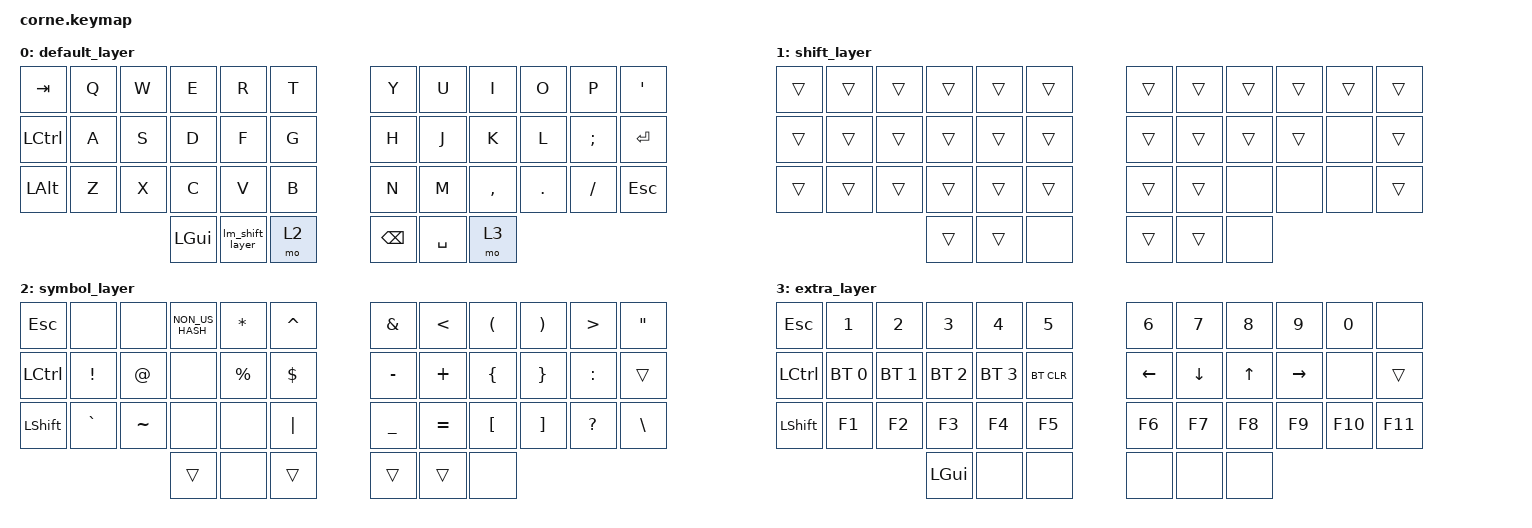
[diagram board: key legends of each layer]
/*
 * Copyright (c) 2020 The ZMK Contributors
 *
 * SPDX-License-Identifier: MIT
 */

#include <behaviors.dtsi>
#include <dt-bindings/zmk/keys.h>
#include <dt-bindings/zmk/bt.h>

/ {
        macros {
            lm_shift_layer: lm_shift_layer {
                label = "lm_ZM_shift_layer";
                compatible = "zmk,behavior-macro";
                wait-ms = <0>;
                #binding-cells = <0>;
                bindings
                    = <&macro_press &mo 1 &kp LSHFT>
                    , <&macro_pause_for_release>
                    , <&macro_release &mo 1 &kp LSHFT>;
            };
        };
};

/ {
        keymap {
                compatible = "zmk,keymap";

                default_layer {
// -----------------------------------------------------------------------------------------
// | TAB  |  Q  |  W  |  E  |  R  |  T  |   |  Y  |  U  |  I  |  O  |  P  |  '  |
// | CTRL |  A  |  S  |  D  |  F  |  G  |   |  H  |  J  |  K  |  L  |  ;  | RET |
// | ALT  |  Z  |  X  |  C  |  V  |  B  |   |  N  |  M  |  ,  |  .  |  /  | ESC |
//                    | CMD | SHF | SYM |   | BSPC| SPC | EXT |
                        bindings = <
   &kp TAB   &kp Q &kp W &kp E &kp R &kp T   &kp Y &kp U  &kp I     &kp O   &kp P    &kp SQT
   &kp LCTRL &kp A &kp S &kp D &kp F &kp G   &kp H &kp J  &kp K     &kp L   &kp SEMI &kp RET
   &kp LALT  &kp Z &kp X &kp C &kp V &kp B   &kp N &kp M  &kp COMMA &kp DOT &kp FSLH &kp ESC
            &kp LGUI &lm_shift_layer &mo 2   &kp BSPC &kp SPACE &mo 3
                        >;
                };

                shift_layer {
// -----------------------------------------------------------------------------------------
// |      |     |     |     |     |     |   |     |     |     |     |     |     |
// |      |     |     |     |     |     |   |     |     |     |     | --- |     |
// |      |     |     |     |     |     |   |     |     | --- | --- | --- |     |
//                    |     |     | --- |   |     |     | --- |
                        bindings = <
   &trans &trans &trans &trans &trans &trans   &trans &trans &trans &trans &trans &trans
   &trans &trans &trans &trans &trans &trans   &trans &trans &trans &trans &none  &trans
   &trans &trans &trans &trans &trans &trans   &trans &trans &none  &none  &none  &trans
                        &trans &trans  &none   &trans &trans &none
                        >;
                };

                symbol_layer {
// -----------------------------------------------------------------------------------------
// | ESC  | --- | --- |  #  |  *  |  ^  |   |  &  |  <  |  (  |  )  |  >  |  "  |
// | CTRL |  !  |  @  | --- |  %  |  $  |   |  -  |  +  |  {  |  }  |  :  |     |
// | SHFT |  `  |  ~  | --- | --- |  |  |   |  _  |  =  |  [  |  ]  |  ?  |  \  |
//                    |     | --- |     |   |     |     | --- |
                        bindings = <
   &kp ESC    &none     &none     &kp NON_US_HASH &kp STAR  &kp CARET   &kp AMPS  &kp LT    &kp LPAR &kp RPAR &kp GT    &kp DQT
   &kp LCTRL  &kp EXCL  &kp AT    &none           &kp PRCNT &kp DLLR    &kp MINUS &kp PLUS  &kp LBRC &kp RBRC &kp COLON &trans
   &kp LSHFT  &kp GRAVE &kp TILDE &none           &none     &kp PIPE    &kp UNDER &kp EQUAL &kp LBKT &kp RBKT &kp QMARK &kp BSLH
                                  &trans          &none     &trans      &trans    &trans    &none
                        >;
                };

                extra_layer {
// -----------------------------------------------------------------------------------------
// | ESC  |  1  |  2  |  3  |  4  |  5  |   |  6  |  7  |  8  |  9  |  0  | --- |
// | CTRL | BT1 | BT2 | BT3 | BT4 |BTCLR|   | LFT | DWN |  UP | RGT | --- |     |
// | SHFT | F1  | F2  | F3  | F4  | F5  |   | F6  | F7  | F8  | F9  | F10 | F11 |
//                    | CMD | --- | --- |   | --- | --- | --- |
                        bindings = <
   &kp ESC    &kp N1       &kp N2       &kp N3       &kp N4       &kp N5       &kp N6    &kp N7   &kp N8   &kp N9    &kp N0   &none
   &kp LCTRL  &bt BT_SEL 0 &bt BT_SEL 1 &bt BT_SEL 2 &bt BT_SEL 3 &bt BT_CLR   &kp LEFT  &kp DOWN &kp UP   &kp RIGHT &none    &trans
   &kp LSHFT  &kp F1       &kp F2       &kp F3       &kp F4       &kp F5       &kp F6    &kp F7   &kp F8   &kp F9    &kp F10  &kp F11
                                        &kp LGUI     &none        &none        &none     &none    &none
                        >;
                };
        };
};
